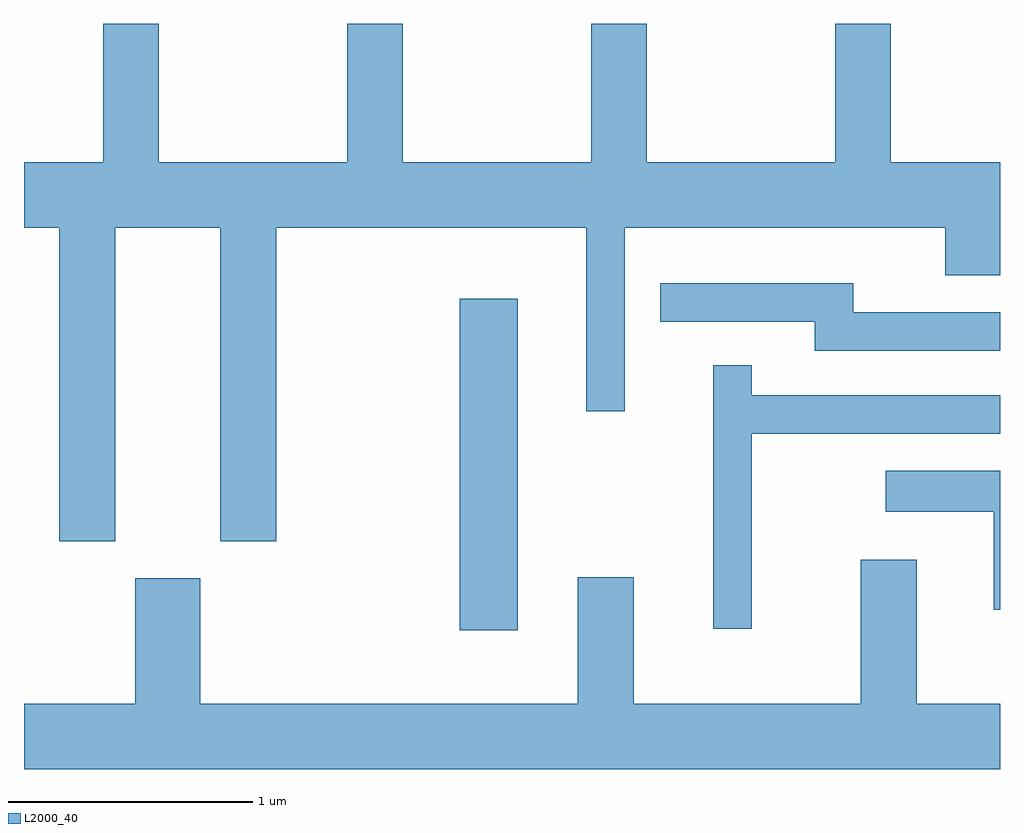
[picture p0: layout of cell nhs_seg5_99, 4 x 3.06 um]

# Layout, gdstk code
import gdstk
lib = gdstk.Library(unit=1e-6, precision=1e-09)
def R(c, l, rs):  # rectangles x0, y0, x1, y1
    for r in rs: c.add(gdstk.rectangle(r[:2], r[2:], *l))
def P(c, l, *ps):  # polygons
    for p in ps: c.add(gdstk.Polygon(p, *l))
L2000_40 = (2000, 40)

nhs_seg5_99 = lib.new_cell('nhs_seg5_99')
R(nhs_seg5_99, L2000_40, [(189.396,1459.586,189.634,1460.944)])
P(nhs_seg5_99, L2000_40, [(187.984,1461.236),(188.416,1461.236),(188.416,1459.951),(188.644,1459.951),(188.644,1461.236),(189.916,1461.236),(189.916,1460.483),(190.074,1460.483),(190.074,1461.236),(191.386,1461.236),(191.386,1461.041),(191.611,1461.041),(191.611,1461.504),(191.164,1461.504),(191.164,1462.072),(190.936,1462.072),(190.936,1461.504),(190.164,1461.504),(190.164,1462.072),(189.936,1462.072),(189.936,1461.504),(189.164,1461.504),(189.164,1462.072),(188.936,1462.072),(188.936,1461.504),(188.164,1461.504),(188.164,1462.072),(187.936,1462.072),(187.936,1461.504),(187.611,1461.504),(187.611,1461.236),(187.756,1461.236),(187.756,1459.951),(187.984,1459.951)],
  [(191.611,1460.889),(191.009,1460.889),(191.009,1461.009),(190.218,1461.009),(190.218,1460.851),(190.851,1460.851),(190.851,1460.731),(191.611,1460.731)],
  [(190.594,1460.391),(191.611,1460.391),(191.611,1460.549),(190.594,1460.549),(190.594,1460.673),(190.436,1460.673),(190.436,1459.593),(190.594,1459.593)],
  [(191.611,1460.239),(191.143,1460.239),(191.143,1460.071),(191.586,1460.071),(191.586,1459.671),(191.611,1459.671)],
  [(191.611,1459.284),(191.269,1459.284),(191.269,1459.874),(191.041,1459.874),(191.041,1459.284),(190.109,1459.284),(190.109,1459.804),(189.881,1459.804),(189.881,1459.284),(188.334,1459.284),(188.334,1459.799),(188.066,1459.799),(188.066,1459.284),(187.611,1459.284),(187.611,1459.016),(191.611,1459.016)])

lib.write_gds('nhs_seg5_99.gds')
